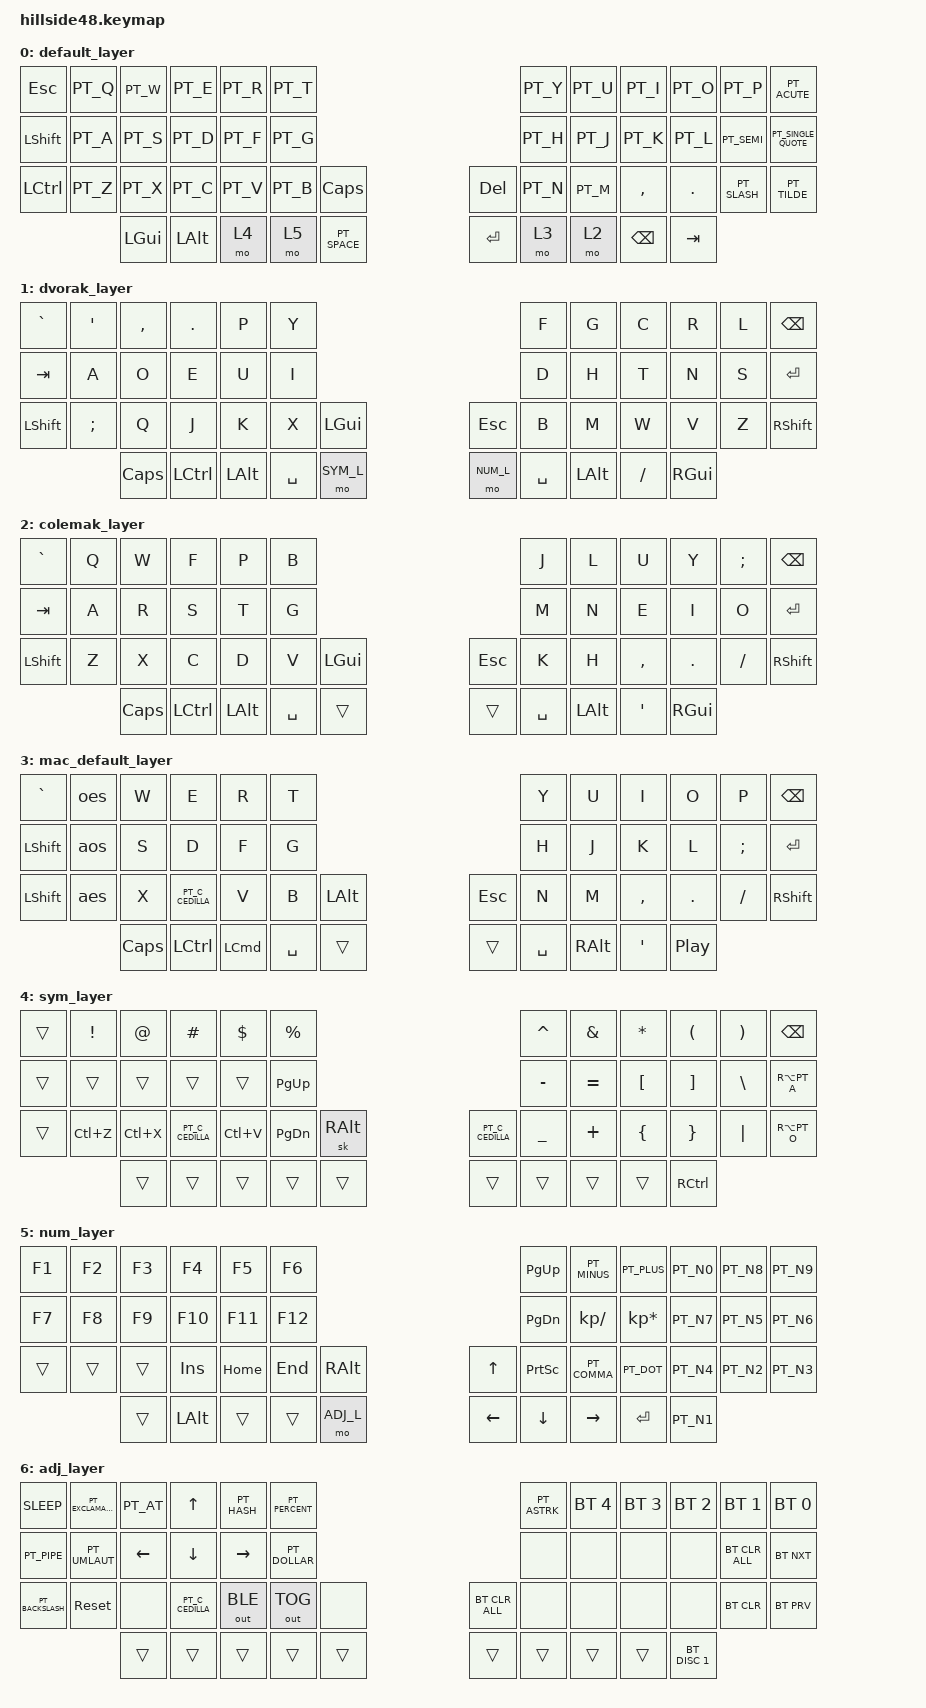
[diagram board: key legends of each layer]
/*
 * Copyright (c) 2022 The ZMK Contributors
 *
 * SPDX-License-Identifier: MIT
 */

#include "keys_pt_abnt2.h"
#include <behaviors.dtsi>
#include <dt-bindings/zmk/bt.h>
#include <dt-bindings/zmk/keys.h>
#include <dt-bindings/zmk/outputs.h>

#define QWERTY_L 0
#define DVORAK_L 1
#define COLEMK_L 2
#define MAC_Q_L  3
#define SYM_L    4
#define NUM_L    5
#define ADJ_L    6
#define Undo   LC(Z)
#define Cut    LC(X)
#define Copy   LC(C)
#define Paste  LC(V)

/ {
    macros {
        new_macrowindot: new_macrowindot {
            compatible = "zmk,behavior-macro";
            #binding-cells = <0>;
            bindings = <&kp LEFT_WIN &kp PT_DOT>;
            label = "NEW_MACROWINDOT";
        };

        aos: tils {
            compatible = "zmk,behavior-macro";
            #binding-cells = <0>;
            bindings = <&kp PT_TILDE &kp A &kp O>;
            label = "TILS";
        };

        aes: aes {
            compatible = "zmk,behavior-macro";
            #binding-cells = <0>;
            bindings = <&kp PT_TILDE &kp A &kp E>;
            label = "AES";
        };

        oes: oes {
            compatible = "zmk,behavior-macro";
            #binding-cells = <0>;
            bindings = <&kp PT_TILDE &kp PT_O &kp E>;
            label = "OES";
        };
    };

    keymap {
        compatible = "zmk,keymap";

        default_layer {
            /* QWERTY
 * -------------------------------------------------------------------------------------------------------------------------------------
 * | `     |   Q   |   W   |   E   |   R   |   T   |-----------------------------------|   Y   |   U   |   I   |   O   |   P   | BKSPC |
 * | TAB   |   A   |   S   |   D   |   F   |   G   |-----------------------------------|   H   |   J   |   K   |   L   |   ;   | ENTER |
 * | SHIFT |   Z   |   X   |   C   |   V   |   B   | GUI   |-------------------|  ESC  |   N   |   M   |   ,   |   .   |   /   | SHIFT |
 * ----------------| CAPS  |-------|  ALT  |  CTRL | SPACE |  Sym  |---|  Num  | SPACE |  ALT  |   '   |-------|Play/P |----------------
 */

            bindings = <
&kp ESC         &kp PT_Q  &kp PT_W      &kp PT_E  &kp PT_R  &kp PT_T                                                     &kp PT_Y  &kp PT_U       &kp PT_I   &kp PT_O  &kp PT_P      &kp PT_ACUTE
&kp LEFT_SHIFT  &kp PT_A  &kp PT_S      &kp PT_D  &kp PT_F  &kp PT_G                                                     &kp PT_H  &kp PT_J       &kp PT_K   &kp PT_L  &kp PT_SEMI   &kp PT_SINGLE_QUOTE
&kp LCTRL       &kp PT_Z  &kp PT_X      &kp PT_C  &kp PT_V  &kp PT_B  &kp CAPSLOCK                           &kp DELETE  &kp PT_N  &kp PT_M       &kp COMMA  &kp DOT   &kp PT_SLASH  &kp PT_TILDE
                          &kp LEFT_GUI            &kp LALT  &mo 4     &mo 5         &kp PT_SPACE  &kp ENTER  &mo 3       &mo 2     &kp BACKSPACE             &kp TAB
            >;
        };

        dvorak_layer {
            /* DVORAK
 * -------------------------------------------------------------------------------------------------------------------------------------
 * | `     |   '   |   ,   |   .   |   P   |   Y   |-----------------------------------|   F   |   G   |   C   |   R   |   L   | BKSPC |
 * | TAB   |   A   |   O   |   E   |   U   |   I   |-----------------------------------|   D   |   H   |   T   |   N   |   S   | ENTER |
 * | SHIFT |   ;   |   Q   |   J   |   K   |   X   | GUI   |-------------------|  ESC  |   B   |   M   |   W   |   V   |   Z   | SHIFT |
 * ----------------| CAPS  |-------|  CTRL |  ALT  | SPACE |  Sym  |---|  Num  | SPACE |  ALT  |   /   |-------|  GUI  |----------------
 */

            bindings = <
&kp GRAVE  &kp SQT   &kp COMMA  &kp DOT  &kp P      &kp Y                                                 &kp F     &kp G      &kp C  &kp R     &kp L  &kp BSPC
&kp TAB    &kp A     &kp O      &kp E    &kp U      &kp I                                                 &kp D     &kp H      &kp T  &kp N     &kp S  &kp ENTER
&kp LSHFT  &kp SEMI  &kp Q      &kp J    &kp K      &kp X     &kp LGUI                         &kp ESC    &kp B     &kp M      &kp W  &kp V     &kp Z  &kp RSHFT
                     &kp CAPS            &kp LCTRL  &kp LALT  &kp SPACE  &mo SYM_L  &mo NUM_L  &kp SPACE  &kp LALT  &kp SLASH         &kp RGUI
            >;
        };

        colemak_layer {
            /* COLEMAK-DH
 * -------------------------------------------------------------------------------------------------------------------------------------
 * | `     |   Q   |   W   |   F   |   P   |   B   |-----------------------------------|   J   |   L   |   U   |   Y   |   ;   | BKSPC |
 * | TAB   |   A   |   R   |   S   |   T   |   G   |-----------------------------------|   M   |   N   |   E   |   I   |   O   | ENTER |
 * | SHIFT |   Z   |   X   |   C   |   D   |   V   | GUI   |-------------------|  ESC  |   K   |   H   |   ,   |   .   |   /   | SHIFT |
 * ----------------| CAPS  |-------|  CTRL |  ALT  | SPACE |  Sym  |---|  Num  | SPACE |  ALT  |   '   |-------|  GUI  |----------------
 */

            bindings = <
&kp GRAVE  &kp Q  &kp W     &kp F  &kp P      &kp B                                           &kp J     &kp L    &kp U      &kp Y     &kp SEMI   &kp BSPC
&kp TAB    &kp A  &kp R     &kp S  &kp T      &kp G                                           &kp M     &kp N    &kp E      &kp I     &kp O      &kp ENTER
&kp LSHFT  &kp Z  &kp X     &kp C  &kp D      &kp V     &kp LGUI                   &kp ESC    &kp K     &kp H    &kp COMMA  &kp DOT   &kp SLASH  &kp RSHFT
                  &kp CAPS         &kp LCTRL  &kp LALT  &kp SPACE  &trans  &trans  &kp SPACE  &kp LALT  &kp SQT             &kp RGUI
            >;
        };

        mac_default_layer {
            /* MAC_QWERTY
 * -------------------------------------------------------------------------------------------------------------------------------------
 * | `     |   Q   |   W   |   E   |   R   |   T   |-----------------------------------|   Y   |   U   |   I   |   O   |   P   | BKSPC |
 * | TAB   |   A   |   S   |   D   |   F   |   G   |-----------------------------------|   H   |   J   |   K   |   L   |   ;   | ENTER |
 * | SHIFT |   Z   |   X   |   C   |   V   |   B   | ALT   |-------------------|  ESC  |   N   |   M   |   ,   |   .   |   /   | SHIFT |
 * ----------------| CAPS  |-------|  CTRL |  CMD  | SPACE |  Sym  |---|  Num  | SPACE |  ALT  |   '   |-------|Play/P |----------------
 */

            bindings = <
&kp GRAVE       &oes  &kp W     &kp E             &kp R      &kp T                                           &kp Y     &kp U    &kp I      &kp O     &kp P      &kp BSPC
&kp LEFT_SHIFT  &aos  &kp S     &kp D             &kp F      &kp G                                           &kp H     &kp J    &kp K      &kp L     &kp SEMI   &kp ENTER
&kp LSHFT       &aes  &kp X     &kp PT_C_CEDILLA  &kp V      &kp B     &kp LALT                   &kp ESC    &kp N     &kp M    &kp COMMA  &kp DOT   &kp SLASH  &kp RSHFT
                      &kp CAPS                    &kp LCTRL  &kp LCMD  &kp SPACE  &trans  &trans  &kp SPACE  &kp RALT  &kp SQT             &kp C_PP
            >;
        };

        sym_layer {
            /* SYM
 * -------------------------------------------------------------------------------------------------------------------------------------
 * | HOME  |   !   |   @   |   #   |   $   |   %   |-----------------------------------|   ^   |   &   |   *   |   (   |   )   | BSPC  |
 * | END   |  GUI  |  Alt  | Ctrl  | Shift | Pg Up |-----------------------------------|   -   |   =   |   [   |   ]   |   \   | ENTER |
 * | Shift |  UnDo |  Cut  | Copy  | Paste | Pg Dn |OsAltGr|-------------------| MENU  |   _   |   +   |   {   |   }   |   |   | SHIFT |
 * ----------------|       |-------|       |       |       |       |---| ADJ_L |       |       |       |-------| CTRL  |----------------
 */

            bindings = <
&trans  &kp EXCL  &kp AT   &kp HASH          &kp DOLLAR  &kp PERCENT                                              &kp CARET  &kp AMPS   &kp ASTRK  &kp LPAR   &kp RPAR  &kp BACKSPACE
&trans  &trans    &trans   &trans            &trans      &kp PG_UP                                                &kp MINUS  &kp EQUAL  &kp LBKT   &kp RBKT   &kp BSLH  &kp RA(PT_A)
&trans  &kp Undo  &kp Cut  &kp PT_C_CEDILLA  &kp Paste   &kp PG_DN    &sk RALT                  &kp PT_C_CEDILLA  &kp UNDER  &kp PLUS   &kp LBRC   &kp RBRC   &kp PIPE  &kp RA(PT_O)
                  &trans                     &trans      &trans       &trans    &trans  &trans  &trans            &trans     &trans                &kp RCTRL
            >;
        };

        num_layer {
            /* NUM
 * -------------------------------------------------------------------------------------------------------------------------------------
 * | F1    |  F2   | Home  |  Up   |  End  |  F9   |-----------------------------------|   /   |   7   |   8   |   9   |   -   | BSPC  |
 * | F3    |  F4   | Left  | Down  | Right |  F10  |-----------------------------------|   *   |   4   |   5   |   6   |   +   | ENTER |
 * | Shift |  F5   |  F6   |  F7   |  F8   |  F11  |  F12  |-------------------| MUTE  |   ,   |   1   |   2   |   3   |   =   | DELETE|
 * ----------------|       |-------|       |       |       | ADJ_L |---|       |       |   0   |       |-------|Play/P |----------------
 */

            bindings = <
&kp F1  &kp F2  &kp F3  &kp F4      &kp F5        &kp F6                                                       &kp PAGE_UP      &kp PT_MINUS   &kp PT_PLUS      &kp PT_N0  &kp PT_N8  &kp PT_N9
&kp F7  &kp F8  &kp F9  &kp F10     &kp F11       &kp F12                                                      &kp PAGE_DOWN    &kp KP_DIVIDE  &kp KP_ASTERISK  &kp PT_N7  &kp PT_N5  &kp PT_N6
&trans  &trans  &trans  &kp INSERT  &kp HOME      &kp END  &kp RIGHT_ALT                             &kp UP    &kp PRINTSCREEN  &kp PT_COMMA   &kp PT_DOT       &kp PT_N4  &kp PT_N2  &kp PT_N3
                &trans              &kp LEFT_ALT  &trans   &trans         &mo ADJ_L  &kp LEFT_ARROW  &kp DOWN  &kp RIGHT        &kp ENTER                       &kp PT_N1
            >;
        };

        adj_layer {
            /* ADJUST
 * ----------------------------------------------------------------------------------------------------------------------------------------
 * |MAC_QWERTY| QWERTY| DVORAK| COLEMK| NUM   |       |-----------------------------------|       |Prt Scr|       | EP_OFF| EP_ON |       |
 * |          | BT 0  | BT 1  | BT 2  | BT 3  | BT 4  |-----------------------------------|       |       |       |       |       |       |
 * |   BOOTL  | RESET |       |OUT_USB|OUT_BLE|       |BT CLR |-------------------|       |       |       |       |       |       | SHIFT |
 * -------------------|       |-------|       |       |       |       |---|       |       |       |       |-------| CTRL  |----------------
 */

            bindings = <
&kp C_SLEEP       &kp PT_EXCLAMATION  &kp PT_AT       &kp UP            &kp PT_HASH   &kp PT_PERCENT                                          &kp PT_ASTRK  &bt BT_SEL 4  &bt BT_SEL 3  &bt BT_SEL 2   &bt BT_SEL 1    &bt BT_SEL 0
&kp PT_PIPE       &kp PT_UMLAUT       &kp LEFT_ARROW  &kp DOWN          &kp RIGHT     &kp PT_DOLLAR                                           &none         &none         &none         &none          &bt BT_CLR_ALL  &bt BT_NXT
&kp PT_BACKSLASH  &sys_reset          &none           &kp PT_C_CEDILLA  &out OUT_BLE  &out OUT_TOG    &none                   &bt BT_CLR_ALL  &none         &none         &none         &none          &bt BT_CLR      &bt BT_PRV
                                      &trans                            &trans        &trans          &trans  &trans  &trans  &trans          &trans        &trans                      &bt BT_DISC 1
            >;
        };
    };
};
